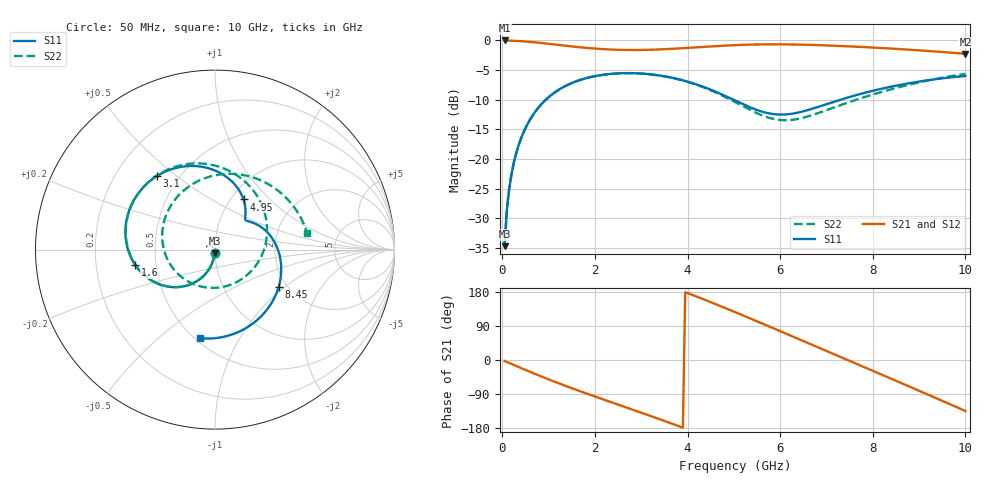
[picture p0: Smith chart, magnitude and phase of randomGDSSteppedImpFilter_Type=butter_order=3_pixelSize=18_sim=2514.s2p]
! freq	dB(S11)	phase(S11)	dB(S12)	phase(S12)
!  dB(S21)	phase(S21)	dB(S22)	phase(S22)
!S-par simulation data
#  GHz  S  DB  R 50
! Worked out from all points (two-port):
!   200 points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, 50 MHz to 10 GHz, reference 50 ohm
!   highest |S21| = -0.01 dB at 50 MHz (marker M1); lowest = -2.3 dB at 10 GHz (marker M2)
!   |S21| within 3 dB of the highest: start of sweep to end of sweep
!   lowest |S11| = -34.7 dB at 50 MHz (marker M3), VSWR 1.04, Z = 49.8 - j1.83 ohm
!   |S11| at or under -10 dB: start of sweep to 939.5 MHz; 4.99 GHz to 7.302 GHz (2.312 GHz wide, 37.6 % of centre)
!   |S22| runs from -34.2 to -5.5 dB; largest |S21 - S12| = 0
!   S11 on the Smith chart (normalised r, x): 50 MHz: 1.00, -0.04; 1.6 GHz: 0.38, -0.08; 3.1 GHz: 0.38, +0.42; 4.95 GHz: 1.14, +0.71; 8.45 GHz: 1.80, -0.91; 10 GHz: 0.53, -0.70
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0.05  -34.68 -96.2  -0.01 -2.7  -0.01 -2.7  -34.24 -93.5
0.1  -28.54 -97.2  -0.02 -5.4  -0.02 -5.4  -28.34 -96.4
0.2  -22.52 -101.6  -0.05 -10.6  -0.05 -10.6  -22.46 -101.5
0.45  -15.66 -114.2  -0.15 -23.6  -0.15 -23.6  -15.65 -114.2
1  -9.57 -141.6  -0.57 -51.1  -0.57 -51.1  -9.58 -141.7
1.6  -6.88 -169.2  -1.10 -78.8  -1.10 -78.8  -6.88 -169.7
1.75  -6.50 -175.7  -1.21 -85.5  -1.21 -85.5  -6.50 -176.4
2.4  -5.61 156.9  -1.56 -113.3  -1.56 -113.3  -5.61 155.2
3.1  -5.64 128.6  -1.59 -143.1  -1.59 -143.1  -5.65 124.3
3.4  -5.92 116.5  -1.52 -156.2  -1.52 -156.2  -5.94 110.4
4.2  -7.43 85.3  -1.16 167.2  -1.16 167.2  -7.50 69.4
4.95  -9.85 60.4  -0.82 130.4  -0.82 130.4  -10.08 22.2
5.05  -10.22 57.8  -0.79 125.3  -0.79 125.3  -10.49 14.9
5.45  -11.58 49.9  -0.69 104.8  -0.69 104.8  -12.09 -17.5
5.85  -12.42 45.4  -0.66 84.0  -0.66 84.0  -13.23 -54.8
6.25  -12.37 41.4  -0.68 63.1  -0.68 63.1  -13.40 -93.9
6.7  -11.50 33.0  -0.77 39.5  -0.77 39.5  -12.56 -134.3
7.5  -9.53 7.4  -1.01 -2.3  -1.01 -2.3  -10.37 166.1
8.35  -7.87 -26.5  -1.35 -46.8  -1.35 -46.8  -8.34 110.9
8.45  -7.71 -30.6  -1.40 -52.1  -1.40 -52.1  -8.13 104.6
9.2  -6.70 -62.5  -1.78 -91.7  -1.78 -91.7  -6.74 58.0
10  -6.00 -99.5  -2.26 -134.5  -2.26 -134.5  -5.65 10.2
